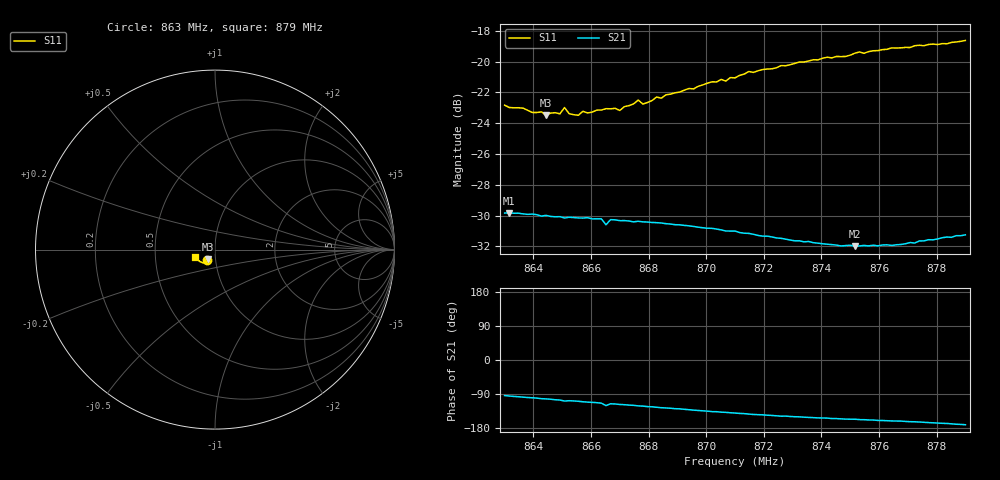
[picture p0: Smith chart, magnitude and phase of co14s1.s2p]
# HZ S RI R 50
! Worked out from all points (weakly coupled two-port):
!   101 points, 863 MHz to 879 MHz, reference 50 ohm
!   highest |S21| = -29.82 dB at 863.16 MHz (marker M1); lowest = -32.0 dB at 875.16 MHz (marker M2)
!   lowest |S11| = -23.5 dB at 864.44 MHz (marker M3), VSWR 1.14, Z = 46 - j5.04 ohm
!   |S11| at or under -10 dB: start of sweep to end of sweep
!   S12 and S22 are empty: the file has one direction only
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8.63e8  -0.0456 -0.0559  -0.00214 -0.0322  0 0  0 0
8.6316e8  -0.0442 -0.0555  -0.00285 -0.0321  0 0  0 0
8.6444e8  -0.0388 -0.0545  -0.00694 -0.0309  0 0  0 0
8.6492e8  -0.0377 -0.0562  -0.00843 -0.0302  0 0  0 0
8.6508e8  -0.0418 -0.0573  -0.00977 -0.0295  0 0  0 0
8.6524e8  -0.0372 -0.0566  -0.00937 -0.0298  0 0  0 0
8.654e8  -0.0364 -0.0565  -0.00965 -0.0297  0 0  0 0
8.6572e8  -0.0363 -0.0586  -0.0107 -0.0291  0 0  0 0
8.6636e8  -0.0364 -0.0594  -0.0125 -0.0282  0 0  0 0
8.6652e8  -0.0353 -0.0608  -0.0149 -0.0255  0 0  0 0
8.6668e8  -0.0362 -0.0602  -0.0132 -0.0277  0 0  0 0
8.67e8  -0.0342 -0.0604  -0.014 -0.0271  0 0  0 0
8.6764e8  -0.0373 -0.0651  -0.0157 -0.026  0 0  0 0
8.678e8  -0.0354 -0.0636  -0.0158 -0.0257  0 0  0 0
8.6828e8  -0.0372 -0.0671  -0.0171 -0.0246  0 0  0 0
8.6844e8  -0.0374 -0.0663  -0.0175 -0.0243  0 0  0 0
8.71e8  -0.0503 -0.0729  -0.0216 -0.0181  0 0  0 0
8.7148e8  -0.0538 -0.0757  -0.022 -0.0168  0 0  0 0
8.7372e8  -0.0704 -0.073  -0.0228 -0.0121  0 0  0 0
8.7516e8  -0.082 -0.0678  -0.0231 -0.0101  0 0  0 0
8.7644e8  -0.093 -0.0601  -0.0239 -0.0083  0 0  0 0
8.79e8  -0.1106 -0.0385  -0.0271 -0.00435  0 0  0 0
